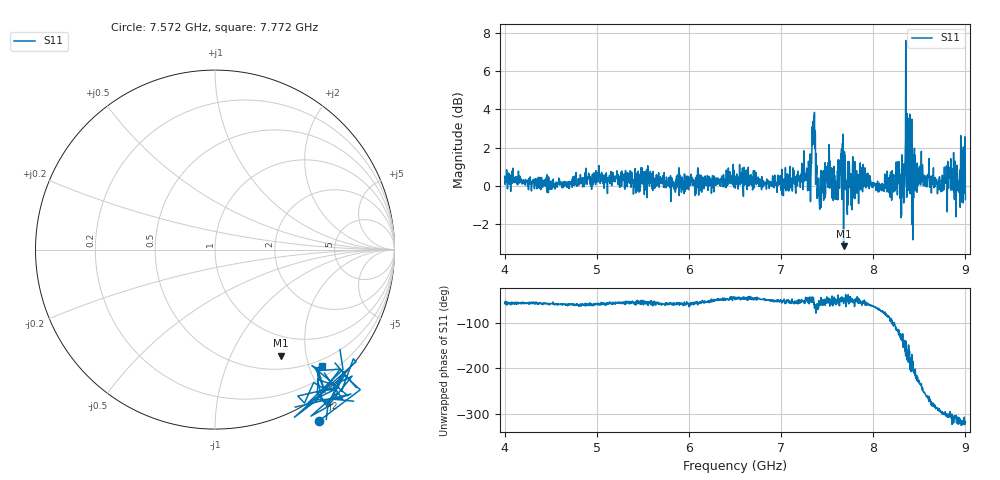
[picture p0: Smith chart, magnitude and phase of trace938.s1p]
! Created with skrf 1.8.0 (http://scikit-rf.org).
# Hz S RI R 50.0
!freq ReS11 ImS11
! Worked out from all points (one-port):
!   1601 points, 4 GHz to 9 GHz, reference 50 ohm
!   lowest |S11| = -3.1 dB at 7.678 GHz (marker M1), VSWR 5.58, Z = 34.5 - j79 ohm
!   |S11| at or under -10 dB: nowhere
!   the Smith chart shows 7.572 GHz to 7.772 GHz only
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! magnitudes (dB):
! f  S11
! 4 GHz  0.4
! 4.625 GHz  -0.1
! 5.25 GHz  -0.1
! 5.875 GHz  -0.1
! 6.5 GHz  0.3
! 7.125 GHz  0.2
! 7.306 GHz  0.8
! 7.353 GHz  2.2
! 7.412 GHz  -0.5
! 7.512 GHz  1.2
! 7.591 GHz  0.3
! 7.65 GHz  1.7
! 7.678 GHz  -3.1
! 7.703 GHz  0.0
! 7.75 GHz  0.1
! 7.878 GHz  0.6
! 8.097 GHz  0.1
! 8.262 GHz  -0.5
! 8.312 GHz  1.6
! 8.325 GHz  0.5
! 8.334 GHz  1.2
! 8.375 GHz  0.8
! 8.447 GHz  2.0
! 8.459 GHz  -0.3
! 8.722 GHz  -0.2
! 8.831 GHz  0.6
! 8.972 GHz  0.1
! 9 GHz  -0.7
